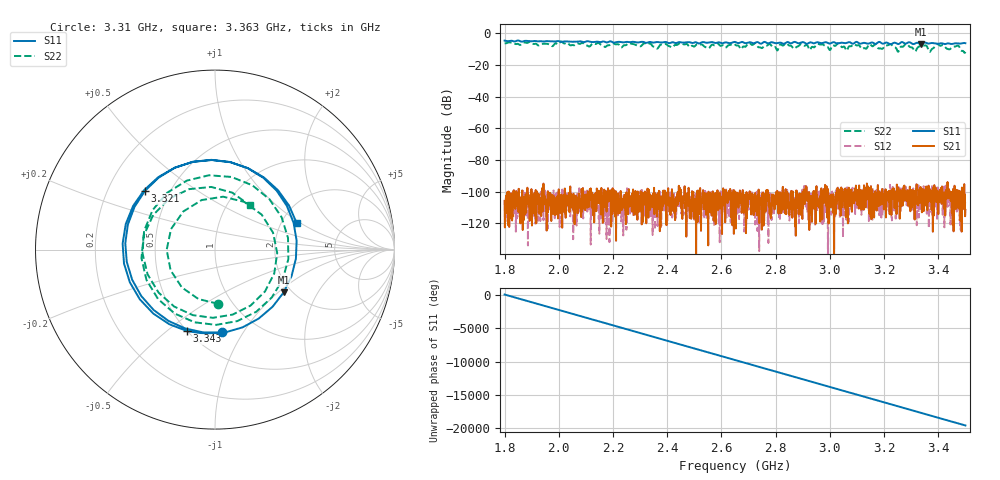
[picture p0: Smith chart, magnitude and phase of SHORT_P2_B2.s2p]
# Hz S RI R 50
! RAW DATA - UNCALIBRATED
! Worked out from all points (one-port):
!   1601 points, 1.8 GHz to 3.5 GHz, reference 50 ohm
!   lowest |S11| = -6.9 dB at 3.336 GHz (marker M1), VSWR 2.64, Z = 91 - j54.4 ohm
!   |S11| at or under -10 dB: nowhere
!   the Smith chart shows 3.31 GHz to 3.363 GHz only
!   S11 on the Smith chart (normalised r, x): 3.31 GHz: 0.69, -0.81; 3.321 GHz: 0.36, +0.32; 3.343 GHz: 0.50, -0.59; 3.363 GHz: 2.41, +0.94
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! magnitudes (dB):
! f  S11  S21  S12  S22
! 1.8 GHz  -4.5  -105.8  -108.3  -6.3
! 2.084 GHz  -5.1  -98.2  -109.9  -6.1
! 2.367 GHz  -5.5  -108.6  -101.7  -8.8
! 2.65 GHz  -5.4  -105.3  -107.7  -7.0
! 2.934 GHz  -5.8  -119.1  -118.2  -8.5
! 2.998 GHz  -6.4  -105.1  -100.3  -10.3
! 3.03 GHz  -6.3  -98.2  -100.4  -6.1
! 3.06 GHz  -6.1  -103.9  -110.1  -10.6
! 3.091 GHz  -6.0  -99.8  -99.3  -6.8
! 3.188 GHz  -5.7  -106.8  -108.4  -9.5
! 3.217 GHz  -6.4  -99.6  -111.2  -7.2
! 3.25 GHz  -6.7  -97.4  -103.8  -11.3
! 3.283 GHz  -6.2  -100.9  -108.6  -6.6
! 3.31 GHz  -6.7  -108.2  -112.9  -10.4
! 3.321 GHz  -5.9  -104.7  -99.9  -9.5
! 3.336 GHz  -6.9  -104.4  -111.2  -7.7
! 3.343 GHz  -6.4  -98.3  -102.5  -7.7
! 3.363 GHz  -6.4  -106.3  -100.1  -10.1
! 3.397 GHz  -6.5  -99.6  -95.9  -6.7
! 3.437 GHz  -6.2  -104.1  -101.1  -10.0
! 3.469 GHz  -6.2  -98.9  -104.9  -7.7
! 3.5 GHz  -6.1  -111.5  -106.9  -11.6
